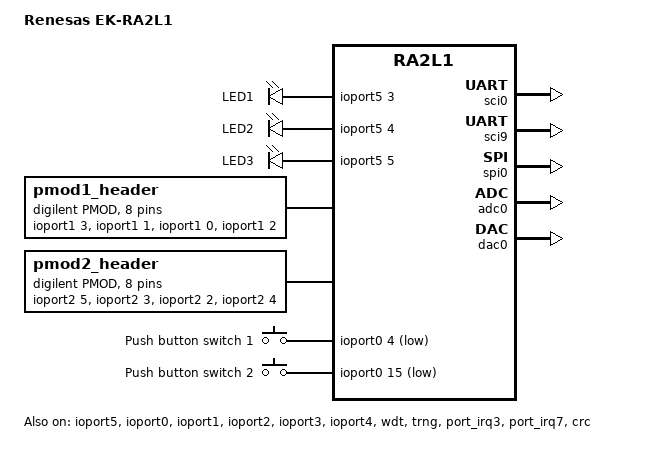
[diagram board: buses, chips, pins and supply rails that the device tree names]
/**
 * Copyright (c) 2021-2024 MUNIC SA
 * Copyright (c) 2024-2025 Renesas Electronics Corporation
 *
 * DTS for Renesas EK-RA2L1 eval. board
 *
 * SPDX-License-Identifier: Apache-2.0
 */

/dts-v1/;

#include <renesas/ra/ra2/ra2l1.dtsi>
#include <renesas/ra/ra2/r7fa2l1xb.dtsi>
#include <renesas/ra/ra2/r7fa2l1xxxxfp.dtsi>

#include <zephyr/dt-bindings/gpio/gpio.h>
#include <zephyr/dt-bindings/adc/adc.h>
#include <zephyr/dt-bindings/input/input-event-codes.h>
#include "ek_ra2l1-pinctrl.dtsi"

/ {
	model = "Renesas EK-RA2L1";
	compatible = "renesas,r7fa2l1abxxfp", "renesas,ra2l1";

	chosen {
		zephyr,sram = &sram0;
		zephyr,flash-controller = &flash;
		zephyr,flash = &flash0;
		zephyr,console = &uart0;
		zephyr,shell-uart = &uart0;
		zephyr,entropy = &trng;
		zephyr,crc = &crc;
	};

	leds {
		compatible = "gpio-leds";

		led1: led1 {
			gpios = <&ioport5 3 GPIO_ACTIVE_HIGH>;
			label = "LED1";
		};

		led2: led2 {
			gpios = <&ioport5 4 GPIO_ACTIVE_HIGH>;
			label = "LED2";
		};

		led3: led3 {
			gpios = <&ioport5 5 GPIO_ACTIVE_HIGH>;
			label = "LED3";
		};
	};

	pmod1_header: pmod-connector-1 {
		compatible = "digilent,pmod";
		#gpio-cells = <2>;
		gpio-map-mask = <0xffffffff 0xffffffc0>;
		gpio-map-pass-thru = <0 0x3f>;
		gpio-map = <0 0 &ioport1 3 0>,	/* IO1 */
			   <1 0 &ioport1 1 0>,	/* IO2 */
			   <2 0 &ioport1 0 0>,	/* IO3 */
			   <3 0 &ioport1 2 0>,	/* IO4 */
			   <4 0 &ioport4 2 0>,	/* IO5 */
			   <5 0 &ioport2 8 0>,	/* IO6 */
			   <6 0 &ioport1 5 0>,	/* IO7 */
			   <7 0 &ioport1 6 0>;	/* IO8 */
	};

	pmod2_header: pmod-connector-2 {
		compatible = "digilent,pmod";
		#gpio-cells = <2>;
		gpio-map-mask = <0xffffffff 0xffffffc0>;
		gpio-map-pass-thru = <0 0x3f>;
		gpio-map = <0 0 &ioport2 5 0>,	/* IO1 */
			   <1 0 &ioport2 3 0>,	/* IO2 */
			   <2 0 &ioport2 2 0>,	/* IO3 */
			   <3 0 &ioport2 4 0>,	/* IO4 */
			   <4 0 &ioport4 9 0>,	/* IO5 */
			   <5 0 &ioport3 3 0>,	/* IO6 */
			   <6 0 &ioport2 6 0>,	/* IO7 */
			   <7 0 &ioport3 4 0>;	/* IO8 */
	};

	buttons {
		compatible = "gpio-keys";

		button0: s1 {
			gpios = <&ioport0 4 (GPIO_PULL_UP | GPIO_ACTIVE_LOW)>;
			label = "Push button switch 1";
			zephyr,code = <INPUT_KEY_0>;
		};

		button1: s2 {
			gpios = <&ioport0 15 (GPIO_PULL_UP | GPIO_ACTIVE_LOW)>;
			label = "Push button switch 2";
			zephyr,code = <INPUT_KEY_1>;
		};
	};

	aliases {
		led0 = &led1;
		led1 = &led2;
		sw0 = &button0;
		sw1 = &button1;
		watchdog0 = &wdt;
	};
};

&ioport5 {
	status = "okay";
};

&ioport0 {
	status = "okay";
};

&ioport1 {
	status = "okay";
};

&ioport2 {
	status = "okay";
};

&ioport3 {
	status = "okay";
};

&ioport4 {
	status = "okay";
};

&sci0 {
	pinctrl-0 = <&sci0_default>;
	pinctrl-names = "default";
	status = "okay";

	uart0: uart {
		current-speed = <115200>;
		status = "okay";
	};
};

&sci9 {
	pinctrl-0 = <&sci9_default>;
	pinctrl-names = "default";
	status = "okay";

	uart9: uart {
		current-speed = <115200>;
		status = "okay";
	};
};

&spi0 {
	pinctrl-0 = <&spi0_default>;
	pinctrl-names = "default";
	interrupts = <16 1>, <17 1>, <18 1>, <19 1>;
	interrupt-names = "rxi", "txi", "tei", "eri";
	status = "okay";
};

&wdt {
	status = "okay";
};

&trng {
	status = "okay";
};

&adc0 {
	pinctrl-0 = <&adc0_default>;
	pinctrl-names = "default";
	interrupts = <8 1>;
	interrupt-names = "scanend";
	status = "okay";
};

&dac0 {
	pinctrl-0 = <&dac0_default>;
	pinctrl-names = "default";
	status = "okay";
};

&port_irq3 {
	interrupts = <11 1>;
	status = "okay";
};

&port_irq7 {
	interrupts = <15 1>;
	status = "okay";
};

&crc {
	status = "okay";
};

&flash1 {
	partitions {
		compatible = "fixed-partitions";
		#address-cells = <1>;
		#size-cells = <1>;

		storage_partition: partition@0 {
			label = "storage";
			reg = <0x0 DT_SIZE_K(8)>;
		};
	};
};

pmod1_spi: &spi0 {};

pmod2_serial: &uart9 {};

pmod_spi: &pmod1_spi {};

pmod_serial: &pmod2_serial {};

pmod_header: &pmod1_header {};
